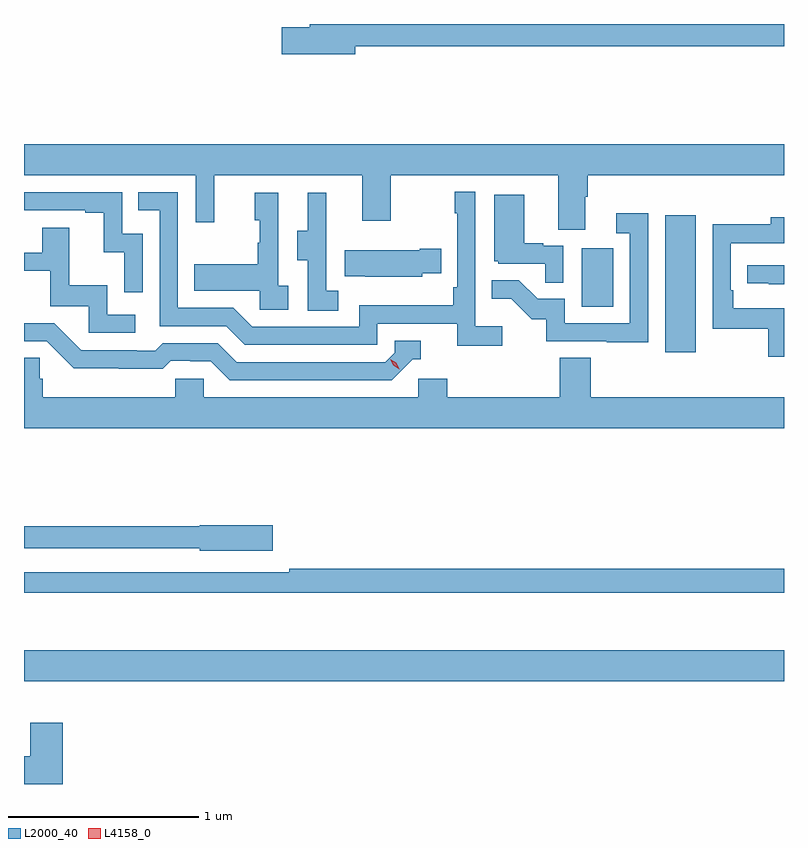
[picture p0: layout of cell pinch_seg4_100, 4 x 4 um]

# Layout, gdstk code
import gdstk
lib = gdstk.Library(unit=1e-6, precision=1e-09)
def R(c, l, rs):  # rectangles x0, y0, x1, y1
    for r in rs: c.add(gdstk.rectangle(r[:2], r[2:], *l))
def P(c, l, *ps):  # polygons
    for p in ps: c.add(gdstk.Polygon(p, *l))
L2000_40 = (2000, 40)
L4158_0 = (4158, 0)

pinch_seg4_100 = lib.new_cell('pinch_seg4_100')
R(pinch_seg4_100, L2000_40, [(1032.222,806.144,1036.222,806.308), (1035.596,807.876,1035.757,808.597), (1035.158,808.116,1035.322,808.423)])
P(pinch_seg4_100, L2000_40, [(1033.966,809.488),(1036.222,809.488),(1036.222,809.604),(1033.727,809.604),(1033.727,809.588),(1033.578,809.588),(1033.578,809.446),(1033.966,809.446)],
  [(1035.175,808.696),(1035.188,808.696),(1035.188,808.808),(1036.222,808.808),(1036.222,808.972),(1032.222,808.972),(1032.222,808.808),(1033.125,808.808),(1033.125,808.56),(1033.223,808.56),(1033.223,808.808),(1034.003,808.808),(1034.003,808.569),(1034.151,808.569),(1034.151,808.808),(1035.035,808.808),(1035.035,808.522),(1035.175,808.522)],
  [(1034.74,808.012),(1034.598,808.012),(1034.598,808.72),(1034.49,808.72),(1034.49,808.607),(1034.502,808.607),(1034.502,808.219),(1034.482,808.219),(1034.482,808.123),(1033.986,808.123),(1033.986,808.011),(1033.422,808.011),(1033.323,808.11),(1033.032,808.11),(1033.032,808.719),(1032.823,808.719),(1032.823,808.623),(1032.936,808.623),(1032.936,808.014),(1033.286,808.014),(1033.385,807.915),(1034.082,807.915),(1034.082,808.026),(1034.501,808.026),(1034.501,807.91),(1034.74,807.91)],
  [(1032.846,808.5),(1032.738,808.5),(1032.738,808.719),(1032.222,808.719),(1032.222,808.623),(1032.545,808.623),(1032.545,808.611),(1032.641,808.611),(1032.641,808.403),(1032.75,808.403),(1032.75,808.191),(1032.846,808.191)],
  [(1033.612,808.226),(1033.56,808.226),(1033.56,808.717),(1033.436,808.717),(1033.436,808.572),(1033.462,808.572),(1033.462,808.454),(1033.452,808.454),(1033.452,808.339),(1033.117,808.339),(1033.117,808.199),(1033.464,808.199),(1033.464,808.101),(1033.612,808.101)],
  [(1033.876,808.199),(1033.812,808.199),(1033.812,808.503),(1033.814,808.503),(1033.814,808.717),(1033.715,808.717),(1033.715,808.515),(1033.661,808.515),(1033.661,808.36),(1033.716,808.36),(1033.716,808.096),(1033.876,808.096)],
  [(1035.06,808.437),(1034.954,808.437),(1034.954,808.45),(1034.854,808.45),(1034.854,808.705),(1034.696,808.705),(1034.696,808.356),(1034.718,808.356),(1034.718,808.341),(1034.965,808.341),(1034.965,808.243),(1035.06,808.243)],
  [(1035.507,808.609),(1035.339,808.609),(1035.339,808.503),(1035.411,808.503),(1035.411,808.029),(1035.069,808.029),(1035.069,808.158),(1034.925,808.158),(1034.827,808.256),(1034.683,808.256),(1034.683,808.157),(1034.787,808.157),(1034.894,808.05),(1034.971,808.05),(1034.971,807.933),(1035.289,807.933),(1035.289,807.928),(1035.507,807.928)],
  [(1036.222,808.108),(1035.956,808.108),(1035.956,808.204),(1035.942,808.204),(1035.942,808.449),(1036.222,808.449),(1036.222,808.588),(1036.151,808.588),(1036.151,808.55),(1035.846,808.55),(1035.846,807.999),(1036.14,807.999),(1036.14,807.852),(1036.222,807.852)],
  [(1032.808,808.074),(1032.66,808.074),(1032.66,808.228),(1032.461,808.228),(1032.461,808.531),(1032.317,808.531),(1032.317,808.401),(1032.222,808.401),(1032.222,808.305),(1032.359,808.305),(1032.359,808.119),(1032.564,808.119),(1032.564,807.978),(1032.808,807.978)],
  [(1034.319,808.292),(1034.417,808.292),(1034.417,808.422),(1034.306,808.422),(1034.306,808.414),(1033.909,808.414),(1033.909,808.277),(1034.017,808.277),(1034.017,808.274),(1034.319,808.274)],
  [(1036.222,808.335),(1036.029,808.335),(1036.029,808.239),(1036.141,808.239),(1036.141,808.234),(1036.222,808.234)],
  [(1034.268,807.84),(1034.311,807.84),(1034.311,807.936),(1034.172,807.936),(1034.172,807.873),(1034.124,807.825),(1033.341,807.825),(1033.242,807.924),(1032.953,807.924),(1032.914,807.885),(1032.815,807.885),(1032.815,807.888),(1032.522,807.888),(1032.381,808.029),(1032.222,808.029),(1032.222,807.933),(1032.342,807.933),(1032.484,807.791),(1032.72,807.791),(1032.72,807.789),(1032.953,807.789),(1032.995,807.831),(1033.098,807.831),(1033.098,807.828),(1033.205,807.828),(1033.304,807.729),(1034.157,807.729)],
  [(1036.222,807.64),(1035.206,807.64),(1035.206,807.848),(1035.041,807.848),(1035.041,807.64),(1034.45,807.64),(1034.45,807.738),(1034.298,807.738),(1034.298,807.64),(1033.167,807.64),(1033.167,807.738),(1033.017,807.738),(1033.017,807.64),(1032.32,807.64),(1032.32,807.738),(1032.305,807.738),(1032.305,807.848),(1032.222,807.848),(1032.222,807.476),(1036.222,807.476)],
  [(1033.531,806.966),(1033.146,806.966),(1033.146,806.96),(1032.222,806.96),(1032.222,806.844),(1033.146,806.844),(1033.146,806.831),(1033.531,806.831)],
  [(1036.222,806.738),(1033.618,806.738),(1033.618,806.718),(1032.222,806.718),(1032.222,806.61),(1036.222,806.61)],
  [(1032.425,805.927),(1032.254,805.927),(1032.254,805.75),(1032.222,805.75),(1032.222,805.604),(1032.425,805.604)])
P(pinch_seg4_100, L4158_0, [(1034.196,807.788),(1034.165,807.807),(1034.149,807.84),(1034.149,807.84),(1034.149,807.84),(1034.18,807.82),(1034.196,807.788),(1034.196,807.788)])

lib.write_gds('pinch_seg4_100.gds')
